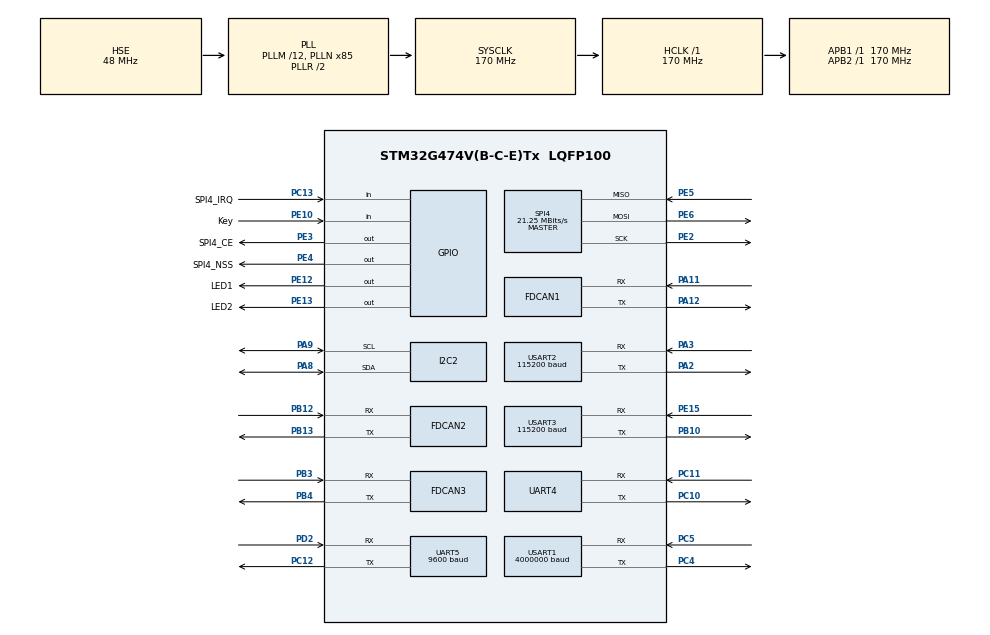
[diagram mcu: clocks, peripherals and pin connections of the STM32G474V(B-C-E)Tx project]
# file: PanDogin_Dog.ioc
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Dma.Request0=UART4_RX
Dma.Request1=UART4_TX
Dma.Request2=USART3_RX
Dma.Request3=USART1_TX
Dma.Request4=USART1_RX
Dma.Request5=USART3_TX
Dma.Request6=USART2_TX
Dma.Request7=USART2_RX
Dma.Request8=UART5_RX
Dma.UART4_RX.0.Direction=DMA_PERIPH_TO_MEMORY
Dma.UART4_RX.0.EventEnable=DISABLE
Dma.UART4_RX.0.Instance=DMA1_Channel1
Dma.UART4_RX.0.MemDataAlignment=DMA_MDATAALIGN_BYTE
Dma.UART4_RX.0.MemInc=DMA_MINC_ENABLE
Dma.UART4_RX.0.Mode=DMA_NORMAL
Dma.UART4_RX.0.PeriphDataAlignment=DMA_PDATAALIGN_BYTE
Dma.UART4_RX.0.PeriphInc=DMA_PINC_DISABLE
Dma.UART4_RX.0.Polarity=HAL_DMAMUX_REQ_GEN_RISING
Dma.UART4_RX.0.Priority=DMA_PRIORITY_LOW
Dma.UART4_RX.0.RequestNumber=1
Dma.UART4_RX.0.SignalID=NONE
Dma.UART4_RX.0.SyncEnable=DISABLE
Dma.UART4_RX.0.SyncPolarity=HAL_DMAMUX_SYNC_NO_EVENT
Dma.UART4_RX.0.SyncRequestNumber=1
Dma.UART4_RX.0.SyncSignalID=NONE
Dma.UART4_TX.1.Direction=DMA_MEMORY_TO_PERIPH
Dma.UART4_TX.1.EventEnable=DISABLE
Dma.UART4_TX.1.Instance=DMA1_Channel2
Dma.UART4_TX.1.MemDataAlignment=DMA_MDATAALIGN_BYTE
Dma.UART4_TX.1.MemInc=DMA_MINC_ENABLE
Dma.UART4_TX.1.Mode=DMA_NORMAL
Dma.UART4_TX.1.PeriphDataAlignment=DMA_PDATAALIGN_BYTE
Dma.UART4_TX.1.PeriphInc=DMA_PINC_DISABLE
Dma.UART4_TX.1.Polarity=HAL_DMAMUX_REQ_GEN_RISING
Dma.UART4_TX.1.Priority=DMA_PRIORITY_LOW
Dma.UART4_TX.1.RequestNumber=1
Dma.UART4_TX.1.SignalID=NONE
Dma.UART4_TX.1.SyncEnable=DISABLE
Dma.UART4_TX.1.SyncPolarity=HAL_DMAMUX_SYNC_NO_EVENT
Dma.UART4_TX.1.SyncRequestNumber=1
Dma.UART4_TX.1.SyncSignalID=NONE
Dma.UART5_RX.8.Direction=DMA_PERIPH_TO_MEMORY
Dma.UART5_RX.8.EventEnable=DISABLE
Dma.UART5_RX.8.Instance=DMA1_Channel3
Dma.UART5_RX.8.MemDataAlignment=DMA_MDATAALIGN_BYTE
Dma.UART5_RX.8.MemInc=DMA_MINC_ENABLE
Dma.UART5_RX.8.Mode=DMA_NORMAL
Dma.UART5_RX.8.PeriphDataAlignment=DMA_PDATAALIGN_BYTE
Dma.UART5_RX.8.PeriphInc=DMA_PINC_DISABLE
Dma.UART5_RX.8.Polarity=HAL_DMAMUX_REQ_GEN_RISING
Dma.UART5_RX.8.Priority=DMA_PRIORITY_VERY_HIGH
Dma.UART5_RX.8.RequestNumber=1
Dma.UART5_RX.8.SignalID=NONE
Dma.UART5_RX.8.SyncEnable=DISABLE
Dma.UART5_RX.8.SyncPolarity=HAL_DMAMUX_SYNC_NO_EVENT
Dma.UART5_RX.8.SyncRequestNumber=1
Dma.UART5_RX.8.SyncSignalID=NONE
Dma.USART1_RX.4.Direction=DMA_PERIPH_TO_MEMORY
Dma.USART1_RX.4.EventEnable=DISABLE
Dma.USART1_RX.4.Instance=DMA2_Channel2
Dma.USART1_RX.4.MemDataAlignment=DMA_MDATAALIGN_BYTE
Dma.USART1_RX.4.MemInc=DMA_MINC_ENABLE
Dma.USART1_RX.4.Mode=DMA_NORMAL
Dma.USART1_RX.4.PeriphDataAlignment=DMA_PDATAALIGN_BYTE
Dma.USART1_RX.4.PeriphInc=DMA_PINC_DISABLE
Dma.USART1_RX.4.Polarity=HAL_DMAMUX_REQ_GEN_RISING
Dma.USART1_RX.4.Priority=DMA_PRIORITY_VERY_HIGH
Dma.USART1_RX.4.RequestNumber=1
Dma.USART1_RX.4.SignalID=NONE
Dma.USART1_RX.4.SyncEnable=DISABLE
Dma.USART1_RX.4.SyncPolarity=HAL_DMAMUX_SYNC_NO_EVENT
Dma.USART1_RX.4.SyncRequestNumber=1
Dma.USART1_RX.4.SyncSignalID=NONE
Dma.USART1_TX.3.Direction=DMA_MEMORY_TO_PERIPH
Dma.USART1_TX.3.EventEnable=DISABLE
Dma.USART1_TX.3.Instance=DMA1_Channel7
Dma.USART1_TX.3.MemDataAlignment=DMA_MDATAALIGN_BYTE
Dma.USART1_TX.3.MemInc=DMA_MINC_ENABLE
Dma.USART1_TX.3.Mode=DMA_NORMAL
Dma.USART1_TX.3.PeriphDataAlignment=DMA_PDATAALIGN_BYTE
Dma.USART1_TX.3.PeriphInc=DMA_PINC_DISABLE
Dma.USART1_TX.3.Polarity=HAL_DMAMUX_REQ_GEN_RISING
Dma.USART1_TX.3.Priority=DMA_PRIORITY_VERY_HIGH
Dma.USART1_TX.3.RequestNumber=1
Dma.USART1_TX.3.SignalID=NONE
Dma.USART1_TX.3.SyncEnable=DISABLE
Dma.USART1_TX.3.SyncPolarity=HAL_DMAMUX_SYNC_NO_EVENT
Dma.USART1_TX.3.SyncRequestNumber=1
Dma.USART1_TX.3.SyncSignalID=NONE
Dma.USART2_RX.7.Direction=DMA_PERIPH_TO_MEMORY
Dma.USART2_RX.7.EventEnable=DISABLE
Dma.USART2_RX.7.Instance=DMA1_Channel8
Dma.USART2_RX.7.MemDataAlignment=DMA_MDATAALIGN_BYTE
Dma.USART2_RX.7.MemInc=DMA_MINC_ENABLE
Dma.USART2_RX.7.Mode=DMA_NORMAL
Dma.USART2_RX.7.PeriphDataAlignment=DMA_PDATAALIGN_BYTE
Dma.USART2_RX.7.PeriphInc=DMA_PINC_DISABLE
Dma.USART2_RX.7.Polarity=HAL_DMAMUX_REQ_GEN_RISING
Dma.USART2_RX.7.Priority=DMA_PRIORITY_VERY_HIGH
Dma.USART2_RX.7.RequestNumber=1
Dma.USART2_RX.7.SignalID=NONE
Dma.USART2_RX.7.SyncEnable=DISABLE
Dma.USART2_RX.7.SyncPolarity=HAL_DMAMUX_SYNC_NO_EVENT
Dma.USART2_RX.7.SyncRequestNumber=1
Dma.USART2_RX.7.SyncSignalID=NONE
Dma.USART2_TX.6.Direction=DMA_MEMORY_TO_PERIPH
Dma.USART2_TX.6.EventEnable=DISABLE
Dma.USART2_TX.6.Instance=DMA1_Channel6
Dma.USART2_TX.6.MemDataAlignment=DMA_MDATAALIGN_BYTE
Dma.USART2_TX.6.MemInc=DMA_MINC_ENABLE
Dma.USART2_TX.6.Mode=DMA_NORMAL
Dma.USART2_TX.6.PeriphDataAlignment=DMA_PDATAALIGN_BYTE
Dma.USART2_TX.6.PeriphInc=DMA_PINC_DISABLE
Dma.USART2_TX.6.Polarity=HAL_DMAMUX_REQ_GEN_RISING
Dma.USART2_TX.6.Priority=DMA_PRIORITY_VERY_HIGH
Dma.USART2_TX.6.RequestNumber=1
Dma.USART2_TX.6.SignalID=NONE
Dma.USART2_TX.6.SyncEnable=DISABLE
Dma.USART2_TX.6.SyncPolarity=HAL_DMAMUX_SYNC_NO_EVENT
Dma.USART2_TX.6.SyncRequestNumber=1
Dma.USART2_TX.6.SyncSignalID=NONE
Dma.USART3_RX.2.Direction=DMA_PERIPH_TO_MEMORY
Dma.USART3_RX.2.EventEnable=DISABLE
Dma.USART3_RX.2.Instance=DMA1_Channel5
Dma.USART3_RX.2.MemDataAlignment=DMA_MDATAALIGN_BYTE
Dma.USART3_RX.2.MemInc=DMA_MINC_ENABLE
Dma.USART3_RX.2.Mode=DMA_NORMAL
Dma.USART3_RX.2.PeriphDataAlignment=DMA_PDATAALIGN_BYTE
Dma.USART3_RX.2.PeriphInc=DMA_PINC_DISABLE
Dma.USART3_RX.2.Polarity=HAL_DMAMUX_REQ_GEN_RISING
Dma.USART3_RX.2.Priority=DMA_PRIORITY_VERY_HIGH
Dma.USART3_RX.2.RequestNumber=1
Dma.USART3_RX.2.SignalID=NONE
Dma.USART3_RX.2.SyncEnable=DISABLE
Dma.USART3_RX.2.SyncPolarity=HAL_DMAMUX_SYNC_NO_EVENT
Dma.USART3_RX.2.SyncRequestNumber=1
Dma.USART3_RX.2.SyncSignalID=NONE
Dma.USART3_TX.5.Direction=DMA_MEMORY_TO_PERIPH
Dma.USART3_TX.5.EventEnable=DISABLE
Dma.USART3_TX.5.Instance=DMA1_Channel4
Dma.USART3_TX.5.MemDataAlignment=DMA_MDATAALIGN_BYTE
Dma.USART3_TX.5.MemInc=DMA_MINC_ENABLE
Dma.USART3_TX.5.Mode=DMA_NORMAL
Dma.USART3_TX.5.PeriphDataAlignment=DMA_PDATAALIGN_BYTE
Dma.USART3_TX.5.PeriphInc=DMA_PINC_DISABLE
Dma.USART3_TX.5.Polarity=HAL_DMAMUX_REQ_GEN_RISING
Dma.USART3_TX.5.Priority=DMA_PRIORITY_VERY_HIGH
Dma.USART3_TX.5.RequestNumber=1
Dma.USART3_TX.5.SignalID=NONE
Dma.USART3_TX.5.SyncEnable=DISABLE
Dma.USART3_TX.5.SyncPolarity=HAL_DMAMUX_SYNC_NO_EVENT
Dma.USART3_TX.5.SyncRequestNumber=1
Dma.USART3_TX.5.SyncSignalID=NONE
FDCAN1.CalculateBaudRateNominal=1000000
FDCAN1.CalculateTimeBitNominal=1000
FDCAN1.CalculateTimeQuantumNominal=100.0
FDCAN1.NominalPrescaler=17
FDCAN1.NominalTimeSeg1=6
FDCAN1.NominalTimeSeg2=3
FDCAN2.CalculateBaudRateNominal=1000000
FDCAN2.CalculateTimeBitNominal=1000
FDCAN2.CalculateTimeQuantumNominal=100.0
FDCAN2.NominalPrescaler=17
FDCAN2.NominalTimeSeg1=6
FDCAN2.NominalTimeSeg2=3
FDCAN3.CalculateBaudRateNominal=1000000
FDCAN3.CalculateTimeBitNominal=1000
FDCAN3.CalculateTimeQuantumNominal=100.0
FDCAN3.NominalPrescaler=17
FDCAN3.NominalTimeSeg1=6
FDCAN3.NominalTimeSeg2=3
FREERTOS.Queues01=Visial,1,uint8_t,0,Dynamic,NULL,NULL
FREERTOS.Tasks01=StartTask,-2,128,StartDebug,Default,NULL,Dynamic,NULL,NULL;BlueteethTask,1,256,BlueTeeth_RemoteControl,Default,NULL,Dynamic,NULL,NULL;GO1Init_Task,-2,128,GO1Init,Default,NULL,Dynamic,NULL,NULL;Visual,2,256,VisualTask,Default,NULL,Dynamic,NULL,NULL;NRFTask,-2,512,NRF,Default,NULL,Dynamic,NULL,NULL;TripodHead,0,256,TripodHeadTask,Default,NULL,Dynamic,NULL,NULL;GO_OutputLeft,2,256,GO_OutputLeftTask,Default,NULL,Dynamic,NULL,NULL;GO_Outputright,2,256,GO_OutputrightTask,Default,NULL,Dynamic,NULL,NULL
FREERTOS.configTOTAL_HEAP_SIZE=15000
I2C2.Timing=0x30A0A7FB
Mcu.Family=STM32G4
Mcu.Name=STM32G474V(B-C-E)Tx
Mcu.Package=LQFP100
NVIC.DMA1_Channel1_IRQn=true\:5\:0\:false\:false\:true\:true\:false\:true\:true
NVIC.DMA1_Channel2_IRQn=true\:5\:0\:false\:false\:true\:true\:false\:true\:true
NVIC.DMA1_Channel3_IRQn=true\:5\:0\:false\:false\:true\:true\:false\:true\:true
NVIC.DMA1_Channel4_IRQn=true\:5\:0\:false\:false\:true\:true\:false\:true\:true
NVIC.DMA1_Channel5_IRQn=true\:5\:0\:false\:false\:true\:true\:false\:true\:true
NVIC.DMA1_Channel6_IRQn=true\:5\:0\:false\:false\:true\:true\:false\:true\:true
NVIC.DMA1_Channel7_IRQn=true\:5\:0\:false\:false\:true\:true\:false\:true\:true
NVIC.DMA1_Channel8_IRQn=true\:5\:0\:false\:false\:true\:true\:false\:true\:true
NVIC.DMA2_Channel2_IRQn=true\:5\:0\:false\:false\:true\:true\:false\:true\:true
NVIC.FDCAN1_IT0_IRQn=true\:5\:0\:false\:false\:true\:true\:true\:true\:true
NVIC.FDCAN2_IT0_IRQn=true\:5\:0\:false\:false\:true\:true\:true\:true\:true
NVIC.FDCAN3_IT0_IRQn=true\:5\:0\:false\:false\:true\:true\:true\:true\:true
NVIC.PriorityGroup=NVIC_PRIORITYGROUP_4
NVIC.TIM2_IRQn=true\:5\:0\:false\:false\:true\:true\:true\:true\:true
NVIC.TIM3_IRQn=true\:15\:0\:false\:false\:true\:false\:false\:true\:true
NVIC.TimeBase=TIM3_IRQn
NVIC.TimeBaseIP=TIM3
NVIC.UART4_IRQn=true\:5\:0\:false\:false\:true\:true\:true\:true\:true
NVIC.UART5_IRQn=true\:5\:0\:false\:false\:true\:true\:true\:true\:true
NVIC.USART1_IRQn=true\:5\:0\:false\:false\:true\:true\:true\:true\:true
NVIC.USART2_IRQn=true\:5\:0\:false\:false\:true\:true\:true\:true\:true
NVIC.USART3_IRQn=true\:5\:0\:false\:false\:true\:true\:true\:true\:true
PA11.GPIO_Speed=GPIO_SPEED_FREQ_VERY_HIGH
PA11.Mode=FDCAN_Activate
PA11.Signal=FDCAN1_RX
PA12.GPIO_Speed=GPIO_SPEED_FREQ_VERY_HIGH
PA12.Mode=FDCAN_Activate
PA12.Signal=FDCAN1_TX
PA13.Mode=Serial_Wire
PA13.Signal=SYS_JTMS-SWDIO
PA14.Mode=Serial_Wire
PA14.Signal=SYS_JTCK-SWCLK
PA2.GPIO_Speed=GPIO_SPEED_FREQ_VERY_HIGH
PA2.Mode=Asynchronous
PA2.Signal=USART2_TX
PA3.GPIO_Speed=GPIO_SPEED_FREQ_VERY_HIGH
PA3.Mode=Asynchronous
PA3.Signal=USART2_RX
PA8.Mode=I2C
PA8.Signal=I2C2_SDA
PA9.Mode=I2C
PA9.Signal=I2C2_SCL
PB10.GPIO_Speed=GPIO_SPEED_FREQ_VERY_HIGH
PB10.Mode=Asynchronous
PB10.Signal=USART3_TX
PB12.GPIO_Speed=GPIO_SPEED_FREQ_VERY_HIGH
PB12.Mode=FDCAN_Activate
PB12.Signal=FDCAN2_RX
PB13.GPIO_Speed=GPIO_SPEED_FREQ_VERY_HIGH
PB13.Mode=FDCAN_Activate
PB13.Signal=FDCAN2_TX
PB3.GPIO_Speed=GPIO_SPEED_FREQ_VERY_HIGH
PB3.Mode=FDCAN_Activate
PB3.Signal=FDCAN3_RX
PB4.GPIO_Speed=GPIO_SPEED_FREQ_VERY_HIGH
PB4.Mode=FDCAN_Activate
PB4.Signal=FDCAN3_TX
PC10.GPIO_Speed=GPIO_SPEED_FREQ_VERY_HIGH
PC10.Mode=Asynchronous
PC10.Signal=UART4_TX
PC11.GPIO_Speed=GPIO_SPEED_FREQ_VERY_HIGH
PC11.Mode=Asynchronous
PC11.Signal=UART4_RX
PC12.GPIO_Speed=GPIO_SPEED_FREQ_VERY_HIGH
PC12.Mode=Asynchronous
PC12.Signal=UART5_TX
PC13.GPIO_Label=SPI4_IRQ
PC13.Signal=GPIO_Input
PC4.GPIO_Speed=GPIO_SPEED_FREQ_VERY_HIGH
PC4.Mode=Asynchronous
PC4.Signal=USART1_TX
PC5.GPIO_Speed=GPIO_SPEED_FREQ_VERY_HIGH
PC5.Mode=Asynchronous
PC5.Signal=USART1_RX
PD2.GPIO_Speed=GPIO_SPEED_FREQ_VERY_HIGH
PD2.Mode=Asynchronous
PD2.Signal=UART5_RX
PE10.GPIO_Label=Key
PE10.GPIO_PuPd=GPIO_PULLDOWN
PE10.Signal=GPIO_Input
PE12.GPIO_Label=LED1
PE12.GPIO_PuPd=GPIO_NOPULL
PE12.GPIO_Speed=GPIO_SPEED_FREQ_LOW
PE12.Signal=GPIO_Output
PE13.GPIO_Label=LED2
PE13.Signal=GPIO_Output
PE15.GPIO_Speed=GPIO_SPEED_FREQ_VERY_HIGH
PE15.Mode=Asynchronous
PE15.Signal=USART3_RX
PE2.GPIO_Speed=GPIO_SPEED_FREQ_VERY_HIGH
PE2.Mode=Full_Duplex_Master
PE2.Signal=SPI4_SCK
PE3.GPIO_Label=SPI4_CE
PE3.GPIO_Speed=GPIO_SPEED_FREQ_VERY_HIGH
PE3.PinState=GPIO_PIN_SET
PE3.Signal=GPIO_Output
PE4.GPIO_Label=SPI4_NSS
PE4.GPIO_Speed=GPIO_SPEED_FREQ_VERY_HIGH
PE4.PinState=GPIO_PIN_SET
PE4.Signal=GPIO_Output
PE5.GPIO_Speed=GPIO_SPEED_FREQ_VERY_HIGH
PE5.Mode=Full_Duplex_Master
PE5.Signal=SPI4_MISO
PE6.GPIO_Speed=GPIO_SPEED_FREQ_VERY_HIGH
PE6.Mode=Full_Duplex_Master
PE6.Signal=SPI4_MOSI
PF0-OSC_IN.Mode=HSE-External-Oscillator
PF0-OSC_IN.Signal=RCC_OSC_IN
PF1-OSC_OUT.Mode=HSE-External-Oscillator
PF1-OSC_OUT.Signal=RCC_OSC_OUT
ProjectManager.HeapSize=0x200
ProjectManager.StackSize=0x400
ProjectManager.TargetToolchain=STM32CubeIDE
RCC.ADC12Freq_Value=170000000
RCC.ADC345Freq_Value=170000000
RCC.AHBFreq_Value=170000000
RCC.APB1Freq_Value=170000000
RCC.APB1TimFreq_Value=170000000
RCC.APB2Freq_Value=170000000
RCC.APB2TimFreq_Value=170000000
RCC.CortexFreq_Value=170000000
RCC.EXTERNAL_CLOCK_VALUE=12288000
RCC.HCLKFreq_Value=170000000
RCC.HSE_VALUE=48000000
RCC.HSI48_VALUE=48000000
RCC.HSI_VALUE=16000000
RCC.LSE_VALUE=32768
RCC.PLLM=RCC_PLLM_DIV12
RCC.PLLN=85
RCC.PLLSourceVirtual=RCC_PLLSOURCE_HSE
RCC.SYSCLKFreq_VALUE=170000000
RCC.SYSCLKSource=RCC_SYSCLKSOURCE_PLLCLK
RCC.USBFreq_Value=170000000
RCC.VCOOutputFreq_Value=340000000
SPI4.BaudRatePrescaler=SPI_BAUDRATEPRESCALER_8
SPI4.CalculateBaudRate=21.25 MBits/s
SPI4.DataSize=SPI_DATASIZE_8BIT
SPI4.Direction=SPI_DIRECTION_2LINES
SPI4.Mode=SPI_MODE_MASTER
SPI4.VirtualType=VM_MASTER
STMicroelectronics.X-CUBE-ALGOBUILD.1.3.0.LibraryCcDSPOoLibraryJjDSPOoLibrary=true
TIM2.AutoReloadPreload=TIM_AUTORELOAD_PRELOAD_ENABLE
TIM2.PeriodNoDither=170-1
TIM2.Prescaler=1000-1
UART5.BaudRate=9600
UART5.Mode=MODE_TX_RX
UART5.Parity=PARITY_NONE
USART1.BaudRate=4000000
USART1.VirtualMode-Asynchronous=VM_ASYNC
USART2.BaudRate=115200
USART2.Mode=MODE_TX_RX
USART2.Parity=PARITY_NONE
USART2.VirtualMode-Asynchronous=VM_ASYNC
USART3.BaudRate=115200
USART3.Mode=MODE_TX_RX
USART3.VirtualMode-Asynchronous=VM_ASYNC
VP_FREERTOS_VS_CMSIS_V1.Mode=CMSIS_V1
VP_STMicroelectronics.X-CUBE-ALGOBUILD_VS_DSPOoLibraryJjLibrary_1.3.0_1.3.0.Mode=DSPOoLibraryJjLibrary
VP_SYS_VS_DBSignals.Mode=DisableDeadBatterySignals
VP_SYS_VS_tim3.Mode=TIM3
VP_TIM2_VS_ClockSourceINT.Mode=Internal
board=custom

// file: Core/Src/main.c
/* USER CODE BEGIN Header */
/**
  ******************************************************************************
  * @file           : main.c
  * @brief          : Main program body
  ******************************************************************************
  * @attention
  *
  * Copyright (c) 2023 STMicroelectronics.
  * All rights reserved.
  *
  * This software is licensed under terms that can be found in the LICENSE file
  * in the root directory of this software component.
  * If no LICENSE file comes with this software, it is provided AS-IS.
  *
  ******************************************************************************
  */
/* USER CODE END Header */
#include "main.h"
#include "cmsis_os.h"
#include "dma.h"
#include "fdcan.h"
#include "i2c.h"
#include "spi.h"
#include "tim.h"
#include "usart.h"
#include "gpio.h"

void SystemClock_Config(void);
void MX_FREERTOS_Init(void);

int main(void)
{

  /* MCU Configuration--------------------------------------------------------*/

  /* Reset of all peripherals, Initializes the Flash interface and the Systick. */
  HAL_Init();

  /* Configure the system clock */
  SystemClock_Config();

  /* Initialize all configured peripherals */
  MX_GPIO_Init();
  MX_DMA_Init();
  MX_FDCAN1_Init();
  MX_TIM2_Init();
  MX_UART4_Init();
  MX_UART5_Init();
  MX_USART1_UART_Init();
  MX_USART3_UART_Init();
  MX_FDCAN2_Init();
  MX_I2C2_Init();
  MX_USART2_UART_Init();
  MX_FDCAN3_Init();
  MX_SPI4_Init();

  /* Call init function for freertos objects (in freertos.c) */
  MX_FREERTOS_Init();

  /* Start scheduler */
  osKernelStart();

  /* We should never get here as control is now taken by the scheduler */
  /* Infinite loop */
  while (1)
  {

  }
}

void SystemClock_Config(void)
{
  RCC_OscInitTypeDef RCC_OscInitStruct = {0};
  RCC_ClkInitTypeDef RCC_ClkInitStruct = {0};

  /** Configure the main internal regulator output voltage
  */
  HAL_PWREx_ControlVoltageScaling(PWR_REGULATOR_VOLTAGE_SCALE1_BOOST);

  /** Initializes the RCC Oscillators according to the specified parameters
  * in the RCC_OscInitTypeDef structure.
  */
  RCC_OscInitStruct.OscillatorType = RCC_OSCILLATORTYPE_HSE;
  RCC_OscInitStruct.HSEState = RCC_HSE_ON;
  RCC_OscInitStruct.PLL.PLLState = RCC_PLL_ON;
  RCC_OscInitStruct.PLL.PLLSource = RCC_PLLSOURCE_HSE;
  RCC_OscInitStruct.PLL.PLLM = RCC_PLLM_DIV12;
  RCC_OscInitStruct.PLL.PLLN = 85;
  RCC_OscInitStruct.PLL.PLLP = RCC_PLLP_DIV2;
  RCC_OscInitStruct.PLL.PLLQ = RCC_PLLQ_DIV2;
  RCC_OscInitStruct.PLL.PLLR = RCC_PLLR_DIV2;
  if (HAL_RCC_OscConfig(&RCC_OscInitStruct) != HAL_OK)
  {
    Error_Handler();
  }

  /** Initializes the CPU, AHB and APB buses clocks
  */
  RCC_ClkInitStruct.ClockType = RCC_CLOCKTYPE_HCLK|RCC_CLOCKTYPE_SYSCLK
                              |RCC_CLOCKTYPE_PCLK1|RCC_CLOCKTYPE_PCLK2;
  RCC_ClkInitStruct.SYSCLKSource = RCC_SYSCLKSOURCE_PLLCLK;
  RCC_ClkInitStruct.AHBCLKDivider = RCC_SYSCLK_DIV1;
  RCC_ClkInitStruct.APB1CLKDivider = RCC_HCLK_DIV1;
  RCC_ClkInitStruct.APB2CLKDivider = RCC_HCLK_DIV1;

  if (HAL_RCC_ClockConfig(&RCC_ClkInitStruct, FLASH_LATENCY_4) != HAL_OK)
  {
    Error_Handler();
  }
}

void HAL_TIM_PeriodElapsedCallback(TIM_HandleTypeDef *htim)
{
  if (htim->Instance == TIM3) {
    HAL_IncTick();
  }
}

void Error_Handler(void)
{
  __disable_irq();
  while (1)
  {
  }
}

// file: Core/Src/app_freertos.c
/* USER CODE BEGIN Header */
/**
  ******************************************************************************
  * File Name          : app_freertos.c
  * Description        : Code for freertos applications
  ******************************************************************************
  * @attention
  *
  * Copyright (c) 2023 STMicroelectronics.
  * All rights reserved.
  *
  * This software is licensed under terms that can be found in the LICENSE file
  * in the root directory of this software component.
  * If no LICENSE file comes with this software, it is provided AS-IS.
  *
  ******************************************************************************
  */
/* USER CODE END Header */

#include "FreeRTOS.h"
#include "task.h"
#include "main.h"
#include "cmsis_os.h"

/* USER CODE BEGIN Includes */
#include "fdcan.h"
/* USER CODE END Includes */

osThreadId StartTaskHandle;
osThreadId BlueteethTaskHandle;
osThreadId GO1Init_TaskHandle;
osThreadId VisualHandle;
osThreadId NRFTaskHandle;
osThreadId TripodHeadHandle;
osThreadId GO_OutputLeftHandle;
osThreadId GO_OutputrightHandle;
osMessageQId VisialHandle;

void StartDebug(void const * argument);
void BlueTeeth_RemoteControl(void const * argument);
void GO1Init(void const * argument);
void VisualTask(void const * argument);
void NRF(void const * argument);
void TripodHeadTask(void const * argument);
void GO_OutputLeftTask(void const * argument);
void GO_OutputrightTask(void const * argument);

void MX_FREERTOS_Init(void); /* (MISRA C 2004 rule 8.1) */

void MX_FREERTOS_Init(void) {

  /* Create the queue(s) */
  /* definition and creation of Visial */
  osMessageQDef(Visial, 1, uint8_t);
  VisialHandle = osMessageCreate(osMessageQ(Visial), NULL);

  /* Create the thread(s) */
  /* definition and creation of StartTask */
  osThreadDef(StartTask, StartDebug, osPriorityLow, 0, 128);
  StartTaskHandle = osThreadCreate(osThread(StartTask), NULL);

  /* definition and creation of BlueteethTask */
  osThreadDef(BlueteethTask, BlueTeeth_RemoteControl, osPriorityAboveNormal, 0, 256);
  BlueteethTaskHandle = osThreadCreate(osThread(BlueteethTask), NULL);

  /* definition and creation of GO1Init_Task */
  osThreadDef(GO1Init_Task, GO1Init, osPriorityLow, 0, 128);
  GO1Init_TaskHandle = osThreadCreate(osThread(GO1Init_Task), NULL);

  /* definition and creation of Visual */
  osThreadDef(Visual, VisualTask, osPriorityHigh, 0, 256);
  VisualHandle = osThreadCreate(osThread(Visual), NULL);

  /* definition and creation of NRFTask */
  osThreadDef(NRFTask, NRF, osPriorityLow, 0, 512);
  NRFTaskHandle = osThreadCreate(osThread(NRFTask), NULL);

  /* definition and creation of TripodHead */
  osThreadDef(TripodHead, TripodHeadTask, osPriorityNormal, 0, 256);
  TripodHeadHandle = osThreadCreate(osThread(TripodHead), NULL);

  /* definition and creation of GO_OutputLeft */
  osThreadDef(GO_OutputLeft, GO_OutputLeftTask, osPriorityHigh, 0, 256);
  GO_OutputLeftHandle = osThreadCreate(osThread(GO_OutputLeft), NULL);

  /* definition and creation of GO_Outputright */
  osThreadDef(GO_Outputright, GO_OutputrightTask, osPriorityLow, 0, 256);
  GO_OutputrightHandle = osThreadCreate(osThread(GO_Outputright), NULL);

  /* USER CODE BEGIN RTOS_THREADS */
  /* add threads, ... */
    vTaskResume(StartTaskHandle);
    vTaskSuspend(TripodHeadHandle);
    vTaskSuspend(GO1Init_TaskHandle);
    vTaskSuspend(BlueteethTaskHandle);
    vTaskSuspend(GO_OutputLeftHandle);
    vTaskSuspend(GO_OutputrightHandle);
    vTaskSuspend(VisualHandle);
    vTaskSuspend(NRFTaskHandle);
  /* USER CODE END RTOS_THREADS */

}

void StartDebug(void const * argument)
{
  /* USER CODE BEGIN StartDebug */
    Myinit();
    RemoteControl_Init(1,0); //选择要使用的远程控制模式
    Control_Flag(1,0);//选择是否开启陀螺仪与视觉纠偏开关
    IMU_Slove(1);//是否开启障碍时腿时刻保持竖直

    printf("Init_Ready\n");
    osDelay(3);

    osDelay(1000); //在调试的时候延迟3秒用来打开急停开关

    vTaskResume(GO1Init_TaskHandle);

  /* Infinite loop */
  for(;;)
  {
      LED1_Flash;
      LED2_Flash;

      osDelay(500);
  }

  /* USER CODE END StartDebug */
}

void BlueTeeth_RemoteControl(void const * argument)
{
  /* USER CODE BEGIN BlueTeeth_RemoteControl */
  /* Infinite loop */
  for(;;)
  {
      Remote_Controller();
//      usart_printf("%d,%d\n",gpstate,dpstate);
//      usart_printf("%f,%f,%f,%f,%f,%f\n",IMU_EulerAngle.EulerAngle[Yaw],visual.offset,state_detached_params[1].detached_params_0.step_length,
//                   state_detached_params[1].detached_params_0.freq,state_detached_params[1].detached_params_2.step_length,state_detached_params[1].detached_params_2.freq);
//      usart_printf("%f,%f\n",visual.distance,visual.offset);
//      usart_printf("%f,%f,%f.%f\n", AngleLoop[1].Out_put,AngleLoop[2].Out_put,AngleLoop[3].Out_put,AngleLoop[4].Out_put);
//      usart_printf("%f,%f,%d,%f,%f,%d,%f,%f\n",IMU_EulerAngle.EulerAngle[Yaw],Yaw_PID_Loop.Out_put,Race_count,visual.distance,visual.offset,gpstate,x,y);
//      usart_printf("%f,%f,%f,%f,%f,%f\n",Yaw_PID_Loop.Setpoint,IMU_EulerAngle.EulerAngle[Yaw],Yaw_PID_Loop.Out_put,state_detached_params[1].detached_params_0.step_length,state_detached_params[1].detached_params_2.step_length,visual.offset);
//      usart_printf("%f,%f,%f\n", IMU_EulerAngle.EulerAngle[Yaw],IMU_EulerAngle.EulerAngle[Pitch],IMU_EulerAngle.EulerAngle[Roll]);
    osDelay(1);
  }
  /* USER CODE END BlueTeeth_RemoteControl */
}

void GO1Init(void const * argument)
{
  /* USER CODE BEGIN GO1Init */
    MOTOR_Send_Init(); //初始化电机发送帧头
    Eight_PID_Init();//八个电机PID结构体初始化
    ChangeGainOfPID(6.0f,1.0f,0.03f,0.05f);//初始化pid

    Get_motor_began_pos();       //获得各个电机的初始位
    EndPosture();                //锁住电机

    visual.offset = 100;

    PID_Init(&Yaw_PID_Loop);
    ChangeYawOfPID(0.03f,0.02f,4000.0f,15.0f);//陀螺仪PID初始化

    PID_Init(&Roll_PID_Loop);
    Roll_PID_Loop.P = 0.2f;
    Roll_PID_Loop.D = 0.02f;
    Roll_PID_Loop.SumError = 4000.0f;
    Roll_PID_Loop.Output_limit = 15.0f;

    PID_Init(&VisualLoop);
    VisualLoop.P = 0.2f;
    VisualLoop.D = 0.03f;
    VisualLoop.SumError = 4000.0f;
    VisualLoop.Output_limit = 15.0f;

    printf("GO1 Init Ready\n");
    osDelay(3);

    vTaskResume(GO_OutputLeftHandle);
//    vTaskResume(GO_OutputrightHandle);
    vTaskResume(BlueteethTaskHandle);
//    vTaskResume(NRFTaskHandle);
    vTaskResume(VisualHandle);
    vTaskResume(TripodHeadHandle);
    vTaskSuspend(NULL); //电机初始化任务完成后自挂捏
  /* Infinite loop */
  for(;;)
  {
    osDelay(1);
  }
  /* USER CODE END GO1Init */
}

/* USER CODE BEGIN Header_VisualTask */
/**
* @brief Function implemaenting the Visual thread.
* @param argument: Not used
* @retval None
*/
/* USER CODE END Header_VisualTask */
void VisualTask(void const * argument)
{
  /* USER CODE BEGIN VisualTask */

  /* Infinite loop */
  for(;;)
  {
//        visual_process();
      usart_printf("%d,%d,%d,%d,%d,%d\n",visual.data_8[0],visual.data_8[1],visual.data_8[2]
              ,visual.data_8[3],visual.data_8[4],visual.data_8[5]);
//      if(visual.data_8[1] == 1 && gpstate != 0 && gpstate != 3 && gpstate != 1)
//          MarkingTime();

      osDelay(1);
  }
  /* USER CODE END VisualTask */
}

void NRF(void const * argument)
{
  for(;;)
  {
    osDelay(1);
  }
}

void TripodHeadTask(void const * argument)
{
  /* USER CODE BEGIN TripodHeadTask */
    PID_Init(&M2006_Speed);
    PID_Init(&M2006_Position);

    PID_Set_KP_KI_KD(&M2006_Speed,5.0f,0.05f,0.0f);//2006电机速度环初始化
    PID_Set_KP_KI_KD(&M2006_Position,0.4f,0.0f,0.9f);//2006电机位置环初始化

    M2006_Speed.Output_limit = 4000;
    M2006_Position.Output_limit = 10000;
  /* Infinite loop */
  for(;;)
  {
      SetPoint_IMU(&Roll_PID_Loop,0);
      PID_PosLocM2006(&Roll_PID_Loop,IMU_EulerAngle.EulerAngle[Roll]);

      SetPoint_IMU(&M2006_Position, AngleChange(TargetAngle));
      PID_PosLocM2006(&M2006_Position,struct_debug1[0].total_angle);

      SetPoint_IMU(&M2006_Speed, M2006_Position.Out_put);
      PID_PosLocM2006(&M2006_Speed,struct_debug1[0].speed);

      set_current(&hfdcan2,0x200,M2006_Speed.Out_put,0,0,0);

    osDelay(5);
  }
  /* USER CODE END TripodHeadTask */
}

void GO_OutputLeftTask(void const * argument)
{
  /* USER CODE BEGIN GO_OutputLeftTask */
  /* Infinite loop */
  for(;;)
  {
      leg_pos_controll();
      leg_pos_controll02();
     osDelay(1);
  }
  /* USER CODE END GO_OutputLeftTask */
}

void GO_OutputrightTask(void const * argument)
{
  /* USER CODE BEGIN GO_OutputrightTask */
  /* Infinite loop */
  for(;;)
  {
      leg_pos_controll02();
    osDelay(5);
  }
  /* USER CODE END GO_OutputrightTask */
}
